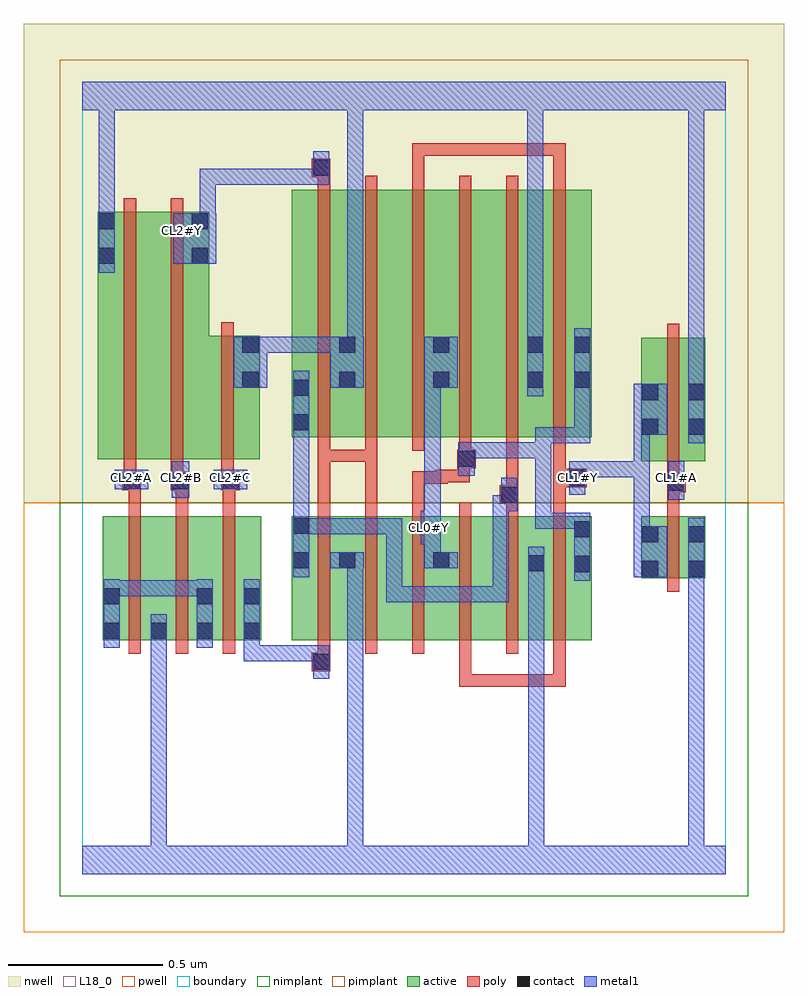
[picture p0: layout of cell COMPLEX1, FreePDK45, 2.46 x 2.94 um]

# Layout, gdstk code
import gdstk
lib = gdstk.Library(unit=1e-6, precision=1e-09)
def R(c, l, rs):  # rectangles x0, y0, x1, y1
    for r in rs: c.add(gdstk.rectangle(r[:2], r[2:], *l))
def A(c, l, x, y, w, h, nx, ny, dx, dy):  # array of equal rectangles
    R(c, l, [(x+i*dx, y+j*dy, x+i*dx+w, y+j*dy+h) for i in range(nx) for j in range(ny)])
active = (1, 0)
pwell = (2, 0)
nwell = (3, 0)
nimplant = (4, 0)
pimplant = (5, 0)
poly = (9, 0)
contact = (10, 0)
metal1 = (11, 0)
L18_0 = (18, 0)
boundary = (235, 0)

complex1 = lib.new_cell('COMPLEX1')
R(complex1, active, [(0.066,0.756,0.126,1.156), (0.066,0.756,0.278,1.156), (0.218,0.756,0.426,1.156), (0.218,0.756,0.278,0.816), (0.366,0.756,0.578,1.156), (0.366,0.756,0.426,0.928), (0.518,0.756,0.578,1.156), (0.678,0.756,0.738,1.156), (0.678,0.756,0.886,1.156), (0.826,0.756,0.886,1.156), (0.826,0.756,1.01,1.156), (1.01,0.756,1.19,1.156), (1.13,0.756,1.19,1.156), (1.13,0.756,1.314,1.156), (1.314,0.756,1.498,1.156), (1.438,0.756,1.498,1.156), (1.438,0.756,1.646,1.156), (1.586,0.756,1.646,1.156), (1.806,0.956,1.866,1.156), (1.806,0.956,2.014,1.156), (1.954,0.956,2.014,1.156), (1.806,1.334,1.866,1.734), (1.806,1.334,2.014,1.734), (1.954,1.334,2.014,1.734), (0.05,1.34,0.11,2.14), (0.05,1.34,0.23,2.14), (0.23,1.34,0.41,2.14), (0.35,1.34,0.574,1.74), (0.514,1.34,0.574,1.74), (0.35,1.388,0.41,2.14), (0.678,1.412,0.886,2.212), (0.678,1.412,0.738,2.096), (0.826,1.412,0.886,2.212), (0.826,1.412,1.01,2.212), (1.01,1.412,1.19,2.212), (1.13,1.412,1.19,2.212), (1.13,1.412,1.314,2.212), (1.314,1.412,1.494,2.212), (1.434,1.412,1.646,2.212), (1.586,1.412,1.646,2.212), (1.434,1.472,1.494,2.212)])
R(complex1, pwell, [(-0.188,-0.188,2.268,1.2)])
R(complex1, nwell, [(-0.188,1.2,2.268,2.748)])
R(complex1, nimplant, [(-0.072,-0.072,2.152,1.2)])
R(complex1, pimplant, [(-0.072,1.2,2.152,2.632)])
A(complex1, poly, 0.15, 0.712, 0.04, 0.488, 3, 1, 0.152, 0)
A(complex1, poly, 0.762, 0.712, 0.04, 0.488, 6, 1, 0.152, 0)
A(complex1, poly, 0.15, 1.16, 0.04, 0.12, 3, 1, 0.152, 0)
A(complex1, poly, 0.762, 1.368, 0.04, 0.888, 6, 1, 0.152, 0)
R(complex1, poly, [(1.218,0.606,1.258,0.646), (1.218,0.606,1.258,0.752), (1.218,0.606,1.364,0.646), (1.324,0.606,1.364,0.646), (1.324,0.606,1.364,0.646), (1.324,0.606,1.364,0.646), (1.324,0.606,1.562,0.646), (1.522,0.606,1.562,0.646), (1.522,0.606,1.562,0.646), (1.522,0.606,1.562,0.646), (1.522,0.606,1.562,0.752), (0.742,0.656,0.802,0.716), (0.762,0.676,0.802,0.752), (1.89,0.912,1.93,1.2), (0.762,1.16,0.802,1.372), (0.914,1.16,0.954,1.372), (1.066,1.16,1.106,1.302), (1.37,1.16,1.41,1.236), (1.522,1.16,1.562,1.29), (1.89,1.16,1.93,1.274), (1.35,1.196,1.41,1.256), (1.37,1.216,1.41,1.256), (1.37,1.216,1.41,1.256), (1.37,1.216,1.41,1.408), (1.89,1.234,1.95,1.294), (0.13,1.24,0.19,1.3), (0.15,1.24,0.19,1.28), (0.15,1.24,0.19,1.28), (0.286,1.24,0.346,1.3), (0.302,1.24,0.342,1.28), (0.302,1.24,0.342,1.28), (0.45,1.24,0.51,1.3), (1.522,1.25,1.63,1.31), (1.89,1.254,1.93,1.33), (1.89,1.254,1.93,1.294), (1.89,1.254,1.93,1.294), (0.134,1.26,0.174,1.336), (0.286,1.26,0.326,1.336), (0.45,1.26,0.49,1.336), (0.45,1.26,0.49,1.3), (0.45,1.26,0.49,1.3), (1.066,1.262,1.106,1.302), (1.066,1.262,1.182,1.302), (1.142,1.262,1.182,1.306), (1.142,1.266,1.252,1.306), (1.212,1.266,1.252,1.306), (1.212,1.266,1.252,1.352), (1.522,1.27,1.562,1.31), (1.522,1.27,1.562,1.31), (1.522,1.27,1.562,1.408), (1.89,1.29,1.93,1.778), (0.134,1.296,0.174,2.184), (0.286,1.296,0.326,2.184), (0.45,1.296,0.49,1.784), (1.212,1.312,1.272,1.372), (0.762,1.332,0.802,1.408), (0.762,1.332,0.802,1.372), (0.762,1.332,0.802,1.372), (0.762,1.332,0.802,1.372), (0.762,1.332,0.802,1.372), (0.762,1.332,0.802,1.372), (0.762,1.332,0.954,1.372), (0.914,1.332,0.954,1.408), (0.914,1.332,0.954,1.372), (0.914,1.332,0.954,1.372), (0.914,1.332,0.954,1.372), (1.218,1.332,1.258,1.408), (0.762,2.216,0.802,2.292), (1.066,2.216,1.106,2.362), (1.522,2.216,1.562,2.362), (0.742,2.252,0.802,2.312), (1.066,2.322,1.106,2.362), (1.066,2.322,1.106,2.362), (1.066,2.322,1.106,2.362), (1.066,2.322,1.258,2.362), (1.218,2.322,1.258,2.362), (1.218,2.322,1.364,2.362), (1.324,2.322,1.364,2.362), (1.324,2.322,1.364,2.362), (1.324,2.322,1.364,2.362), (1.324,2.322,1.562,2.362), (1.522,2.322,1.562,2.362), (1.522,2.322,1.562,2.362), (1.522,2.322,1.562,2.362)])
A(complex1, contact, 0.83, 1.572, 0.052, 0.052, 3, 2, 0.304, 0.112)
R(complex1, contact, [(0.746,0.66,0.798,0.712), (0.07,0.76,0.122,0.812), (0.222,0.76,0.274,0.812), (0.37,0.76,0.422,0.812), (0.522,0.76,0.574,0.812), (0.07,0.872,0.122,0.924), (0.37,0.872,0.422,0.924), (0.522,0.872,0.574,0.924), (1.81,0.96,1.862,1.012), (1.958,0.96,2.01,1.012), (1.59,0.976,1.642,1.028), (1.442,0.978,1.494,1.03), (0.682,0.988,0.734,1.04), (0.83,0.988,0.882,1.04), (1.134,0.988,1.186,1.04), (1.81,1.072,1.862,1.124), (1.958,1.072,2.01,1.124), (1.59,1.088,1.642,1.14), (0.682,1.1,0.734,1.152), (1.354,1.2,1.406,1.252), (1.894,1.238,1.946,1.29), (0.134,1.244,0.186,1.296), (0.29,1.244,0.342,1.296), (0.454,1.244,0.506,1.296), (1.574,1.254,1.626,1.306), (1.216,1.316,1.268,1.368), (1.81,1.42,1.862,1.472), (1.958,1.42,2.01,1.472), (0.682,1.434,0.734,1.486), (1.81,1.532,1.862,1.584), (1.958,1.532,2.01,1.584), (0.682,1.546,0.734,1.598), (0.518,1.572,0.57,1.624), (1.59,1.572,1.642,1.624), (0.518,1.684,0.57,1.736), (1.59,1.684,1.642,1.736), (0.054,1.972,0.106,2.024), (0.354,1.972,0.406,2.024), (0.054,2.084,0.106,2.136), (0.354,2.084,0.406,2.136), (0.746,2.256,0.798,2.308)])
R(complex1, metal1, [(0,0,2.08,0.092), (0.222,0.04,0.274,0.092), (0.222,0.04,0.274,0.092), (0.222,0.04,0.274,0.092), (0.222,0.04,0.274,0.092), (0.222,0.04,0.274,0.092), (0.222,0.04,0.274,0.092), (0.222,0.04,0.274,0.092), (0.222,0.04,0.274,0.092), (0.222,0.04,0.274,0.092), (0.222,0.04,0.274,0.092), (0.222,0.04,0.274,0.092), (0.222,0.04,0.274,0.092), (0.222,0.04,0.274,0.784), (0.856,0.04,0.908,0.092), (0.856,0.04,0.908,0.092), (0.856,0.04,0.908,0.092), (0.856,0.04,0.908,0.092), (0.856,0.04,0.908,0.092), (0.856,0.04,0.908,0.092), (0.856,0.04,0.908,0.092), (0.856,0.04,0.908,0.092), (0.856,0.04,0.908,0.092), (0.856,0.04,0.908,0.092), (0.856,0.04,0.908,0.092), (0.856,0.04,0.908,0.092), (0.856,0.04,0.908,1.04), (1.442,0.04,1.494,0.092), (1.442,0.04,1.494,0.092), (1.442,0.04,1.494,0.092), (1.442,0.04,1.494,0.092), (1.442,0.04,1.494,0.092), (1.442,0.04,1.494,0.092), (1.442,0.04,1.494,0.092), (1.442,0.04,1.494,0.092), (1.442,0.04,1.494,0.092), (1.442,0.04,1.494,0.092), (1.442,0.04,1.494,1.002), (1.958,0.04,2.01,0.092), (1.958,0.04,2.01,0.092), (1.958,0.04,2.01,0.092), (1.958,0.04,2.01,0.092), (1.958,0.04,2.01,0.092), (1.958,0.04,2.01,0.092), (1.958,0.04,2.01,0.984), (0.746,0.632,0.798,0.74), (0.522,0.688,0.574,0.74), (0.522,0.688,0.798,0.74), (0.522,0.688,0.574,0.784), (0.07,0.732,0.122,0.952), (0.222,0.732,0.274,0.84), (0.37,0.732,0.422,0.952), (0.522,0.732,0.574,0.784), (0.522,0.732,0.574,0.784), (0.522,0.732,0.574,0.952), (0.982,0.878,1.034,0.93), (0.982,0.878,1.144,0.93), (0.982,0.878,1.034,1.15), (1.092,0.878,1.144,0.93), (1.092,0.878,1.144,0.93), (1.092,0.878,1.144,0.93), (1.092,0.878,1.254,0.93), (1.202,0.878,1.254,0.93), (1.202,0.878,1.378,0.93), (1.326,0.878,1.378,0.93), (1.326,0.878,1.378,1.224), (0.07,0.898,0.122,0.95), (0.07,0.898,0.122,0.95), (0.07,0.898,0.236,0.95), (0.184,0.898,0.236,0.95), (0.184,0.898,0.236,0.95), (0.184,0.898,0.236,0.95), (0.184,0.898,0.422,0.95), (1.958,0.932,2.01,0.984), (1.958,0.932,2.01,0.984), (1.958,0.932,2.01,0.984), (1.958,0.932,2.01,0.984), (1.958,0.932,2.01,0.984), (1.958,0.932,2.01,0.984), (1.958,0.932,2.01,0.984), (1.958,0.932,2.01,0.984), (1.958,0.932,2.01,0.984), (1.958,0.932,2.01,0.984), (1.958,0.932,2.01,1.152), (1.59,0.948,1.642,1.168), (1.442,0.95,1.494,1.002), (1.442,0.95,1.494,1.002), (1.442,0.95,1.494,1.058), (0.682,0.96,0.734,1.18), (1.782,0.96,1.89,1.124), (0.802,0.988,0.91,1.04), (1.106,0.988,1.158,1.118), (1.106,0.988,1.214,1.04), (1.094,1.066,1.158,1.174), (1.782,1.072,1.834,1.334), (0.682,1.098,0.924,1.15), (0.872,1.098,0.924,1.15), (0.872,1.098,0.924,1.15), (0.872,1.098,0.924,1.15), (0.872,1.098,1.034,1.15), (0.982,1.098,1.034,1.15), (0.982,1.098,1.034,1.15), (0.982,1.098,1.034,1.15), (1.464,1.116,1.516,1.168), (1.464,1.116,1.642,1.168), (1.464,1.116,1.516,1.396), (1.59,1.116,1.642,1.168), (1.59,1.116,1.642,1.168), (1.106,1.122,1.158,1.174), (1.106,1.122,1.158,1.174), (1.106,1.122,1.158,1.624), (0.682,1.128,0.734,1.18), (0.682,1.128,0.734,1.18), (0.682,1.128,0.734,1.18), (0.682,1.128,0.734,1.18), (0.682,1.128,0.734,1.458), (1.326,1.172,1.378,1.224), (1.326,1.172,1.378,1.224), (1.326,1.172,1.378,1.224), (1.326,1.172,1.406,1.224), (1.354,1.172,1.406,1.28), (1.894,1.21,1.946,1.334), (0.29,1.216,0.346,1.334), (1.574,1.226,1.626,1.334), (0.106,1.244,0.214,1.306), (0.426,1.244,0.534,1.306), (1.574,1.282,1.834,1.334), (1.782,1.282,1.834,1.334), (1.782,1.282,1.834,1.334), (1.782,1.282,1.834,1.334), (1.782,1.282,1.834,1.334), (1.782,1.282,1.834,1.334), (1.782,1.282,1.834,1.472), (1.216,1.288,1.268,1.396), (1.216,1.344,1.268,1.396), (1.216,1.344,1.268,1.396), (1.216,1.344,1.516,1.396), (1.464,1.344,1.516,1.396), (1.464,1.344,1.516,1.396), (1.464,1.344,1.516,1.396), (1.464,1.344,1.516,1.396), (1.464,1.344,1.516,1.444), (1.464,1.392,1.642,1.444), (1.59,1.392,1.642,1.444), (1.59,1.392,1.642,1.444), (1.59,1.392,1.642,1.444), (1.59,1.392,1.642,1.596), (1.958,1.392,2.01,1.612), (0.682,1.406,0.734,1.626), (1.782,1.42,1.89,1.584), (1.438,1.544,1.49,1.764), (1.59,1.544,1.642,1.764), (1.958,1.56,2.01,1.612), (1.958,1.56,2.01,1.612), (1.958,1.56,2.01,1.612), (1.958,1.56,2.01,1.612), (1.958,1.56,2.01,1.612), (1.958,1.56,2.01,1.612), (1.958,1.56,2.01,1.612), (1.958,1.56,2.01,1.612), (1.958,1.56,2.01,2.52), (0.49,1.572,0.598,1.736), (0.802,1.572,0.91,1.736), (1.106,1.572,1.214,1.736), (0.546,1.684,0.598,1.736), (0.546,1.684,0.598,1.736), (0.546,1.684,0.598,1.736), (0.546,1.684,0.598,1.736), (0.546,1.684,0.598,1.736), (0.546,1.684,0.598,1.736), (0.546,1.684,0.598,1.736), (0.546,1.684,0.598,1.736), (0.546,1.684,0.598,1.736), (0.546,1.684,0.598,1.736), (0.546,1.684,0.854,1.736), (0.802,1.684,0.854,1.736), (0.802,1.684,0.854,1.736), (0.856,1.684,0.908,1.736), (0.856,1.684,0.908,1.736), (0.856,1.684,0.908,1.736), (0.856,1.684,0.908,1.736), (0.856,1.684,0.908,2.52), (1.438,1.712,1.49,1.764), (1.438,1.712,1.49,1.764), (1.438,1.712,1.49,1.764), (1.438,1.712,1.49,1.764), (1.438,1.712,1.49,2.52), (0.054,1.944,0.106,2.164), (0.294,1.972,0.434,2.136), (0.38,2.084,0.432,2.28), (0.054,2.112,0.106,2.164), (0.054,2.112,0.106,2.164), (0.054,2.112,0.106,2.164), (0.054,2.112,0.106,2.164), (0.054,2.112,0.106,2.52), (0.38,2.228,0.432,2.28), (0.38,2.228,0.432,2.28), (0.38,2.228,0.432,2.28), (0.38,2.228,0.688,2.28), (0.636,2.228,0.688,2.28), (0.636,2.228,0.688,2.28), (0.636,2.228,0.688,2.28), (0.636,2.228,0.798,2.28), (0.746,2.228,0.798,2.336), (0,2.468,2.08,2.56), (0.054,2.468,0.106,2.52), (0.054,2.468,0.106,2.52), (0.054,2.468,0.106,2.52), (0.054,2.468,0.106,2.52), (0.856,2.468,0.908,2.52), (0.856,2.468,0.908,2.52), (0.856,2.468,0.908,2.52), (0.856,2.468,0.908,2.52), (1.438,2.468,1.49,2.52), (1.438,2.468,1.49,2.52), (1.438,2.468,1.49,2.52), (1.438,2.468,1.49,2.52), (1.958,2.468,2.01,2.52), (1.958,2.468,2.01,2.52), (1.958,2.468,2.01,2.52), (1.958,2.468,2.01,2.52), (1.958,2.468,2.01,2.52), (1.958,2.468,2.01,2.52), (1.958,2.468,2.01,2.52), (1.958,2.468,2.01,2.52)])
A(complex1, L18_0, 0.134, 1.254, 0.052, 0.052, 3, 1, 0.16, 0)
R(complex1, L18_0, [(0,0,2.08,0.092), (0.222,0.04,0.274,0.092), (0.222,0.04,0.274,0.092), (0.222,0.04,0.274,0.092), (0.222,0.04,0.274,0.092), (0.222,0.04,0.274,0.092), (0.222,0.04,0.274,0.092), (0.222,0.04,0.274,0.092), (0.222,0.04,0.274,0.092), (0.222,0.04,0.274,0.092), (0.222,0.04,0.274,0.092), (0.222,0.04,0.274,0.092), (0.222,0.04,0.274,0.092), (0.222,0.04,0.274,0.784), (0.856,0.04,0.908,0.092), (0.856,0.04,0.908,0.092), (0.856,0.04,0.908,0.092), (0.856,0.04,0.908,0.092), (0.856,0.04,0.908,0.092), (0.856,0.04,0.908,0.092), (0.856,0.04,0.908,0.092), (0.856,0.04,0.908,0.092), (0.856,0.04,0.908,0.092), (0.856,0.04,0.908,0.092), (0.856,0.04,0.908,0.092), (0.856,0.04,0.908,0.092), (0.856,0.04,0.908,1.04), (1.442,0.04,1.494,0.092), (1.442,0.04,1.494,0.092), (1.442,0.04,1.494,0.092), (1.442,0.04,1.494,0.092), (1.442,0.04,1.494,0.092), (1.442,0.04,1.494,0.092), (1.442,0.04,1.494,0.092), (1.442,0.04,1.494,0.092), (1.442,0.04,1.494,0.092), (1.442,0.04,1.494,0.092), (1.442,0.04,1.494,1.002), (1.958,0.04,2.01,0.092), (1.958,0.04,2.01,0.092), (1.958,0.04,2.01,0.092), (1.958,0.04,2.01,0.092), (1.958,0.04,2.01,0.092), (1.958,0.04,2.01,0.092), (1.958,0.04,2.01,0.984), (0.746,0.632,0.798,0.74), (0.522,0.688,0.574,0.74), (0.522,0.688,0.574,0.784), (0.522,0.688,0.798,0.74), (0.222,0.732,0.274,0.84), (0.522,0.732,0.574,0.952), (0.522,0.732,0.574,0.784), (0.522,0.732,0.574,0.784), (1.958,0.932,2.01,1.152), (1.958,0.932,2.01,0.984), (1.958,0.932,2.01,0.984), (1.958,0.932,2.01,0.984), (1.958,0.932,2.01,0.984), (1.958,0.932,2.01,0.984), (1.958,0.932,2.01,0.984), (1.958,0.932,2.01,0.984), (1.958,0.932,2.01,0.984), (1.958,0.932,2.01,0.984), (1.958,0.932,2.01,0.984), (1.442,0.95,1.494,1.002), (1.442,0.95,1.494,1.002), (1.442,0.95,1.494,1.058), (1.782,0.96,1.89,1.124), (0.802,0.988,0.91,1.04), (1.106,0.988,1.214,1.04), (1.106,0.988,1.158,1.118), (1.094,1.066,1.158,1.174), (1.782,1.072,1.834,1.334), (1.094,1.094,1.146,1.146), (1.106,1.122,1.158,1.174), (1.106,1.122,1.158,1.174), (1.106,1.122,1.158,1.624), (1.894,1.21,1.946,1.334), (0.29,1.216,0.346,1.334), (1.574,1.226,1.626,1.334), (0.106,1.244,0.214,1.306), (0.426,1.244,0.534,1.306), (1.574,1.254,1.626,1.306), (1.894,1.254,1.946,1.306), (1.574,1.282,1.834,1.334), (1.782,1.282,1.834,1.334), (1.782,1.282,1.834,1.334), (1.782,1.282,1.834,1.334), (1.782,1.282,1.834,1.334), (1.782,1.282,1.834,1.334), (1.782,1.282,1.834,1.472), (1.958,1.392,2.01,1.612), (1.782,1.42,1.89,1.584), (1.438,1.544,1.49,1.764), (1.958,1.56,2.01,1.612), (1.958,1.56,2.01,1.612), (1.958,1.56,2.01,1.612), (1.958,1.56,2.01,1.612), (1.958,1.56,2.01,1.612), (1.958,1.56,2.01,1.612), (1.958,1.56,2.01,1.612), (1.958,1.56,2.01,1.612), (1.958,1.56,2.01,2.52), (0.49,1.572,0.598,1.736), (0.802,1.572,0.91,1.736), (1.106,1.572,1.214,1.736), (0.546,1.684,0.598,1.736), (0.546,1.684,0.598,1.736), (0.546,1.684,0.598,1.736), (0.546,1.684,0.598,1.736), (0.546,1.684,0.598,1.736), (0.546,1.684,0.598,1.736), (0.546,1.684,0.598,1.736), (0.546,1.684,0.598,1.736), (0.546,1.684,0.598,1.736), (0.546,1.684,0.598,1.736), (0.546,1.684,0.854,1.736), (0.802,1.684,0.854,1.736), (0.802,1.684,0.854,1.736), (0.856,1.684,0.908,1.736), (0.856,1.684,0.908,1.736), (0.856,1.684,0.908,1.736), (0.856,1.684,0.908,1.736), (0.856,1.684,0.908,2.52), (1.438,1.712,1.49,1.764), (1.438,1.712,1.49,1.764), (1.438,1.712,1.49,1.764), (1.438,1.712,1.49,1.764), (1.438,1.712,1.49,2.52), (0.054,1.944,0.106,2.164), (0.294,1.972,0.434,2.136), (0.294,2.054,0.346,2.106), (0.38,2.084,0.432,2.28), (0.054,2.112,0.106,2.164), (0.054,2.112,0.106,2.164), (0.054,2.112,0.106,2.164), (0.054,2.112,0.106,2.164), (0.054,2.112,0.106,2.52), (0.38,2.228,0.432,2.28), (0.38,2.228,0.432,2.28), (0.38,2.228,0.432,2.28), (0.38,2.228,0.688,2.28), (0.636,2.228,0.688,2.28), (0.636,2.228,0.688,2.28), (0.636,2.228,0.688,2.28), (0.636,2.228,0.798,2.28), (0.746,2.228,0.798,2.336), (0,2.468,2.08,2.56), (0.054,2.468,0.106,2.52), (0.054,2.468,0.106,2.52), (0.054,2.468,0.106,2.52), (0.054,2.468,0.106,2.52), (0.856,2.468,0.908,2.52), (0.856,2.468,0.908,2.52), (0.856,2.468,0.908,2.52), (0.856,2.468,0.908,2.52), (1.438,2.468,1.49,2.52), (1.438,2.468,1.49,2.52), (1.438,2.468,1.49,2.52), (1.438,2.468,1.49,2.52), (1.958,2.468,2.01,2.52), (1.958,2.468,2.01,2.52), (1.958,2.468,2.01,2.52), (1.958,2.468,2.01,2.52), (1.958,2.468,2.01,2.52), (1.958,2.468,2.01,2.52), (1.958,2.468,2.01,2.52), (1.958,2.468,2.01,2.52)])
R(complex1, boundary, [(0,0,2.08,2.56)])
complex1.add(gdstk.Label('CL0#Y', (1.12,1.12), layer=11, texttype=0))
complex1.add(gdstk.Label('CL1#A', (1.92,1.28), layer=11, texttype=0))
complex1.add(gdstk.Label('CL1#Y', (1.6,1.28), layer=11, texttype=0))
complex1.add(gdstk.Label('CL2#A', (0.16,1.28), layer=11, texttype=0))
complex1.add(gdstk.Label('CL2#B', (0.32,1.28), layer=11, texttype=0))
complex1.add(gdstk.Label('CL2#C', (0.48,1.28), layer=11, texttype=0))
complex1.add(gdstk.Label('CL2#Y', (0.32,2.08), layer=11, texttype=0))

lib.write_gds('COMPLEX1.gds')
